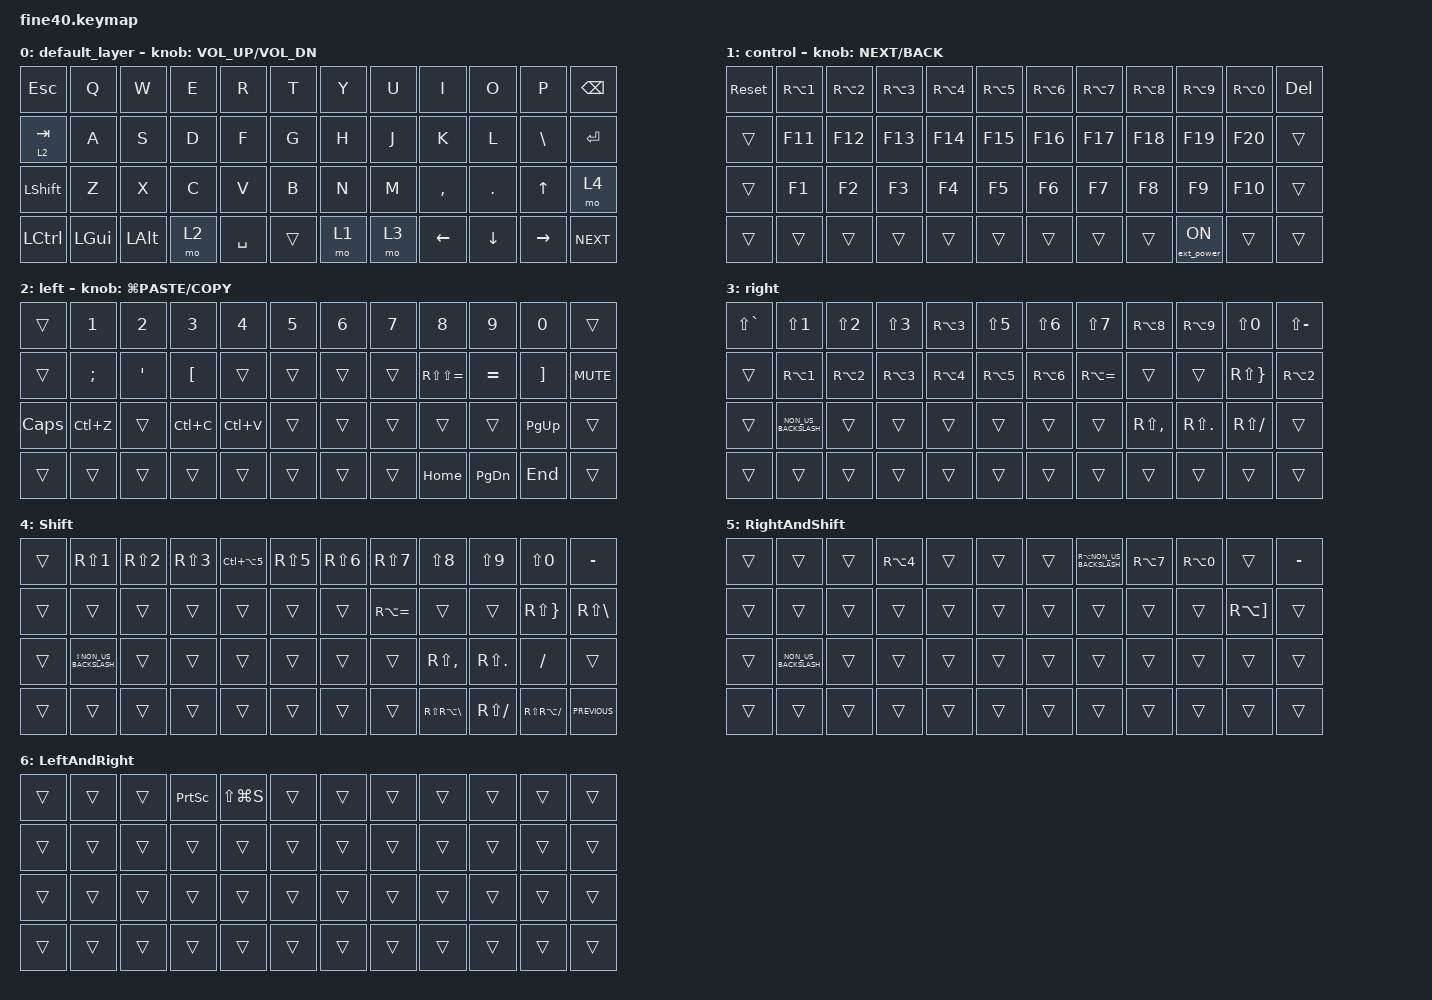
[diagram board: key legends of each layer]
/*
 * Aidan Smith (2021)
 *
 * SPDX-License-Identifier: MIT
 */

#include <behaviors.dtsi>
#include <dt-bindings/zmk/ext_power.h>
#include <dt-bindings/zmk/keys.h>

/ {
    keymap {
        compatible = "zmk,keymap";

        default_layer {
            bindings = <
&kp ESC    &kp Q     &kp W     &kp E  &kp R      &kp T   &kp Y  &kp U  &kp I           &kp O     &kp P          &kp BSPC
&lt 2 TAB  &kp A     &kp S     &kp D  &kp F      &kp G   &kp H  &kp J  &kp K           &kp L     &kp BACKSLASH  &kp RET
&kp LSHFT  &kp Z     &kp X     &kp C  &kp V      &kp B   &kp N  &kp M  &kp COMMA       &kp DOT   &kp UP_ARROW   &mo 4
&kp LCTRL  &kp LGUI  &kp LALT  &mo 2  &kp SPACE  &trans  &mo 1  &mo 3  &kp LEFT_ARROW  &kp DOWN  &kp RIGHT      &kp C_NEXT
            >;

            sensor-bindings = <&inc_dec_kp C_VOL_UP C_VOL_DN>;
        };

        control {
            bindings = <
&sys_reset  &kp RA(NUMBER_1)  &kp RA(NUMBER_2)  &kp RA(NUMBER_3)  &kp RA(NUMBER_4)  &kp RA(N5)  &kp RA(NUMBER_6)  &kp RA(NUMBER_7)  &kp RA(NUMBER_8)  &kp RA(NUMBER_9)  &kp RA(NUMBER_0)  &kp DELETE
&trans      &kp F11           &kp F12           &kp F13           &kp F14           &kp F15     &kp F16           &kp F17           &kp F18           &kp F19           &kp F20           &trans
&trans      &kp F1            &kp F2            &kp F3            &kp F4            &kp F5      &kp F6            &kp F7            &kp F8            &kp F9            &kp F10           &trans
&trans      &trans            &trans            &trans            &trans            &trans      &trans            &trans            &trans            &ext_power EP_ON  &trans            &trans
            >;

            sensor-bindings = <&inc_dec_kp K_NEXT K_BACK>;
        };

        left {
            bindings = <
&trans        &kp NUMBER_1   &kp NUMBER_2  &kp NUMBER_3      &kp NUMBER_4  &kp NUMBER_5  &kp NUMBER_6  &kp NUMBER_7  &kp NUMBER_8       &kp NUMBER_9   &kp NUMBER_0       &trans
&trans        &kp SEMICOLON  &kp APOS      &kp LEFT_BRACKET  &trans        &trans        &trans        &trans        &kp RS(LS(EQUAL))  &kp EQUAL      &kp RIGHT_BRACKET  &kp K_MUTE
&kp CAPSLOCK  &kp LC(Z)      &trans        &kp LC(C)         &kp LC(V)     &trans        &trans        &trans        &trans             &trans         &kp PG_UP          &trans
&trans        &trans         &trans        &trans            &trans        &trans        &trans        &trans        &kp HOME           &kp PAGE_DOWN  &kp END            &trans
            >;

            sensor-bindings = <&inc_dec_kp LG(K_PASTE) K_COPY>;
        };

        right {
            bindings = <
&kp LS(GRAVE)  &kp LS(N1)            &kp LS(N2)        &kp LS(N3)        &kp RA(NUMBER_3)  &kp LS(N5)  &kp LS(N6)        &kp LS(N7)     &kp RA(N8)     &kp RA(NUMBER_9)  &kp LS(N0)           &kp LS(MINUS)
&trans         &kp RA(NUMBER_1)      &kp RA(NUMBER_2)  &kp RA(NUMBER_3)  &kp RA(NUMBER_4)  &kp RA(N5)  &kp RA(NUMBER_6)  &kp RA(EQUAL)  &trans         &trans            &kp RS(RIGHT_BRACE)  &kp RA(NUMBER_2)
&trans         &kp NON_US_BACKSLASH  &trans            &trans            &trans            &trans      &trans            &trans         &kp RS(COMMA)  &kp RS(PERIOD)    &kp RS(SLASH)        &trans
&trans         &trans                &trans            &trans            &trans            &trans      &trans            &trans         &trans         &trans            &trans               &trans
            >;
        };

        Shift {
            bindings = <
&trans  &kp RS(NUMBER_1)          &kp RS(NUMBER_2)  &kp RS(NUMBER_3)  &kp LC(LA(N5))  &kp RS(NUMBER_5)  &kp RS(NUMBER_6)  &kp RS(NUMBER_7)  &kp LS(N8)             &kp LS(N9)     &kp LS(N0)           &kp MINUS
&trans  &trans                    &trans            &trans            &trans          &trans            &trans            &kp RA(EQUAL)     &trans                 &trans         &kp RS(RIGHT_BRACE)  &kp RS(BACKSLASH)
&trans  &kp LS(NON_US_BACKSLASH)  &trans            &trans            &trans          &trans            &trans            &trans            &kp RS(COMMA)          &kp RS(DOT)    &kp SLASH            &trans
&trans  &trans                    &trans            &trans            &trans          &trans            &trans            &trans            &kp RS(RA(BACKSLASH))  &kp RS(SLASH)  &kp RS(RA(SLASH))    &kp C_PREVIOUS
            >;
        };

        RightAndShift {
            bindings = <
&trans  &trans                &trans  &kp RA(NUMBER_4)  &trans  &trans  &trans  &kp RA(NON_US_BACKSLASH)  &kp RA(N7)  &kp RA(N0)  &trans                 &kp MINUS
&trans  &trans                &trans  &trans            &trans  &trans  &trans  &trans                    &trans      &trans      &kp RA(RIGHT_BRACKET)  &trans
&trans  &kp NON_US_BACKSLASH  &trans  &trans            &trans  &trans  &trans  &trans                    &trans      &trans      &trans                 &trans
&trans  &trans                &trans  &trans            &trans  &trans  &trans  &trans                    &trans      &trans      &trans                 &trans
            >;
        };

        LeftAndRight {
            bindings = <
&trans  &trans  &trans  &kp PRINTSCREEN  &kp LS(LG(S))  &trans  &trans  &trans  &trans  &trans  &trans  &trans
&trans  &trans  &trans  &trans           &trans         &trans  &trans  &trans  &trans  &trans  &trans  &trans
&trans  &trans  &trans  &trans           &trans         &trans  &trans  &trans  &trans  &trans  &trans  &trans
&trans  &trans  &trans  &trans           &trans         &trans  &trans  &trans  &trans  &trans  &trans  &trans
            >;
        };
    };

    conditional_layers {
        compatible = "zmk,conditional-layers";

        AppleWiring {
            if-layers = <3 4>;
            then-layer = <5>;
        };

        AppleWiring2 {
            if-layers = <2 3>;
            then-layer = <6>;
        };
    };
};
